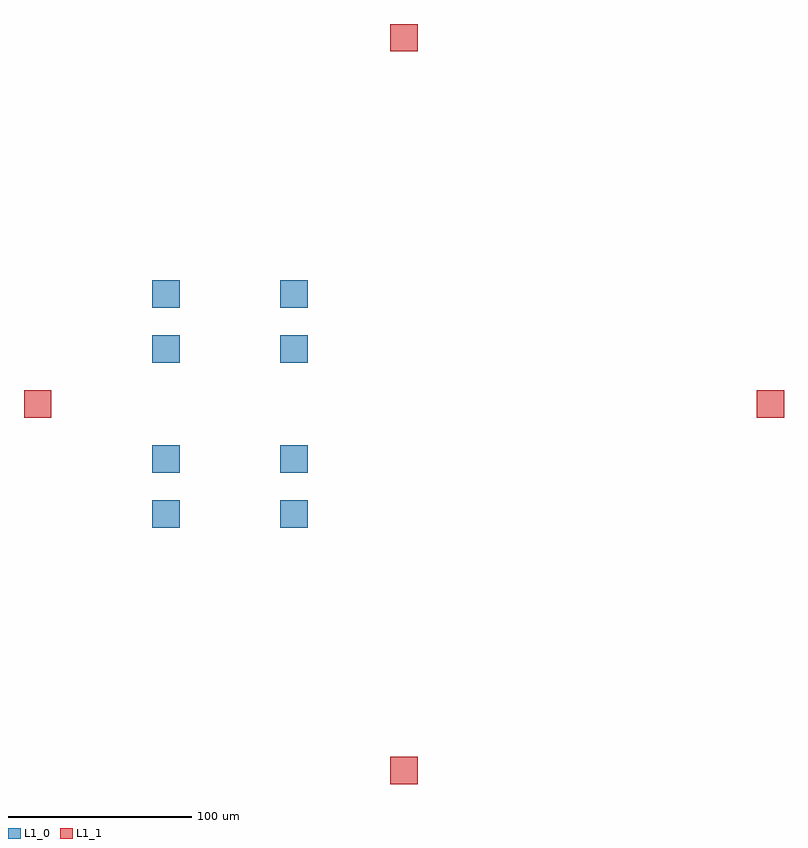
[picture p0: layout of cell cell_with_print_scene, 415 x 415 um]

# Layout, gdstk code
import gdstk
lib = gdstk.Library(unit=1e-6, precision=1e-09)
def P(c, l, *ps):  # polygons
    for p in ps: c.add(gdstk.Polygon(p, *l))
L1_0 = (1, 0)
L1_1 = (1, 1)

cell_with_print_scene = lib.new_cell('cell_with_print_scene')
P(cell_with_print_scene, L1_0, [(-137.5,-37.5),(-122.5,-37.5),(-122.5,-22.5),(-137.5,-22.5),(-137.5,-37.5)],
  [(-137.5,22.5),(-122.5,22.5),(-122.5,37.5),(-137.5,37.5),(-137.5,22.5)],
  [(-67.5,-37.5),(-52.5,-37.5),(-52.5,-22.5),(-67.5,-22.5),(-67.5,-37.5)],
  [(-67.5,22.5),(-52.5,22.5),(-52.5,37.5),(-67.5,37.5),(-67.5,22.5)],
  [(-137.5,-67.5),(-122.5,-67.5),(-122.5,-52.5),(-137.5,-52.5),(-137.5,-67.5)],
  [(-137.5,52.5),(-122.5,52.5),(-122.5,67.5),(-137.5,67.5),(-137.5,52.5)],
  [(-67.5,-67.5),(-52.5,-67.5),(-52.5,-52.5),(-67.5,-52.5),(-67.5,-67.5)],
  [(-67.5,52.5),(-52.5,52.5),(-52.5,67.5),(-67.5,67.5),(-67.5,52.5)])
P(cell_with_print_scene, L1_1, [(-7.5,192.5),(7.5,192.5),(7.5,207.5),(-7.5,207.5),(-7.5,192.5)],
  [(192.5,-7.5),(207.5,-7.5),(207.5,7.5),(192.5,7.5),(192.5,-7.5)],
  [(-7.5,-207.5),(7.5,-207.5),(7.5,-192.5),(-7.5,-192.5),(-7.5,-207.5)],
  [(-207.5,-7.5),(-192.5,-7.5),(-192.5,7.5),(-207.5,7.5),(-207.5,-7.5)])

lib.write_gds('cell_with_print_scene.gds')
